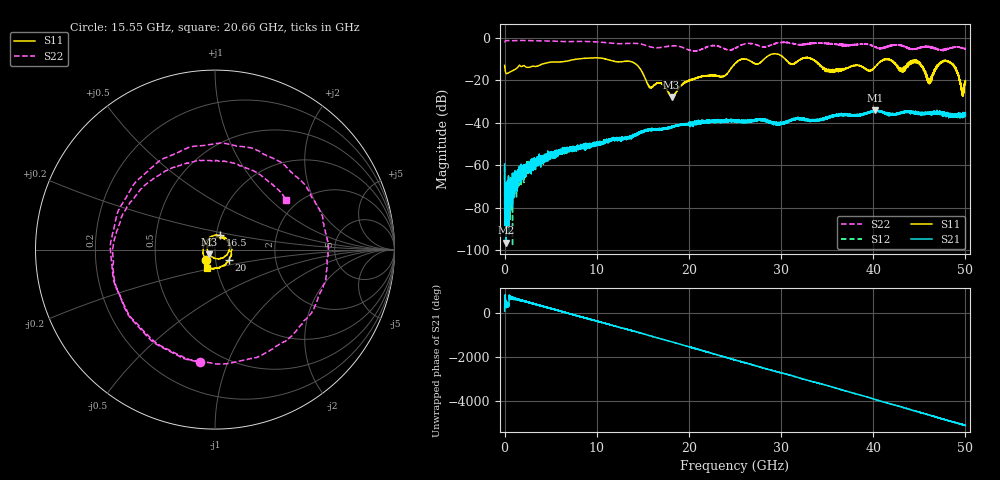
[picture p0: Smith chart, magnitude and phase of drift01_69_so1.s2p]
!Created with skrf (http://scikit-rf.org).
# Hz S RI R 50.0
!freq ReS11 ImS11 ReS21 ImS21 ReS12 ImS12 ReS22 ImS22
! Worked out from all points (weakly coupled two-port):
!   10001 points, 300 kHz to 50 GHz, reference 50 ohm
!   highest |S21| = -34.11 dB at 40.24 GHz (marker M1); lowest = -96.4 dB at 125.3 MHz (marker M2)
!   lowest |S11| = -27.9 dB at 18.11 GHz (marker M3), VSWR 1.08, Z = 46.9 - j2.41 ohm
!   |S11| at or under -10 dB: start of sweep to 8.035 GHz; 10.9 GHz to 25.87 GHz (14.96 GHz wide, 81.4 % of centre); 33.35 GHz to end of sweep (the widest 3 of 18)
!   |S22| runs from -6.4 to -1.4 dB; largest |S21 - S12| = 0.0033
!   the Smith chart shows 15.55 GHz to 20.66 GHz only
!   S11 on the Smith chart (normalised r, x): 15.55 GHz: 0.90, -0.11; 16.5 GHz: 1.04, +0.17; 20 GHz: 1.16, -0.14; 20.66 GHz: 0.90, -0.18
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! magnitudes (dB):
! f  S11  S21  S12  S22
! 300 kHz  -13.1  -59.4  -60.7  -2.1
! 125.3 MHz  -16.6  -96.4  -78.5  -1.5
! 280.3 MHz  -16.9  -79.3  -76.1  -1.4
! 2.94 GHz  -13.6  -60.7  -60.8  -1.4
! 8.335 GHz  -9.9  -51.2  -50.9  -1.8
! 13.86 GHz  -11.5  -46.5  -46.3  -2.7
! 15.55 GHz  -22.0  -43.4  -43.5  -4.0
! 16.5 GHz  -21.5  -43.0  -43.3  -4.8
! 16.67 GHz  -21.2  -43.3  -43.0  -4.8
! 18.11 GHz  -27.9  -41.8  -41.8  -4.0
! 20 GHz  -20.1  -40.6  -40.6  -5.8
! 20.66 GHz  -19.2  -40.8  -40.1  -6.3
! 25 GHz  -12.2  -38.9  -38.9  -5.1
! 33.34 GHz  -10.1  -38.9  -38.8  -2.7
! 35.14 GHz  -15.8  -37.3  -37.5  -2.8
! 40.24 GHz  -13.7  -34.1  -34.3  -4.6
! 41.67 GHz  -10.1  -35.8  -36.2  -4.1
! 43.03 GHz  -14.8  -35.2  -35.1  -3.6
! 44.81 GHz  -11.2  -35.7  -35.2  -5.0
! 46.1 GHz  -21.7  -35.6  -35.9  -4.4
! 48.04 GHz  -11.4  -35.3  -36.4  -5.1
! 50 GHz  -21.3  -36.3  -36.1  -5.2
